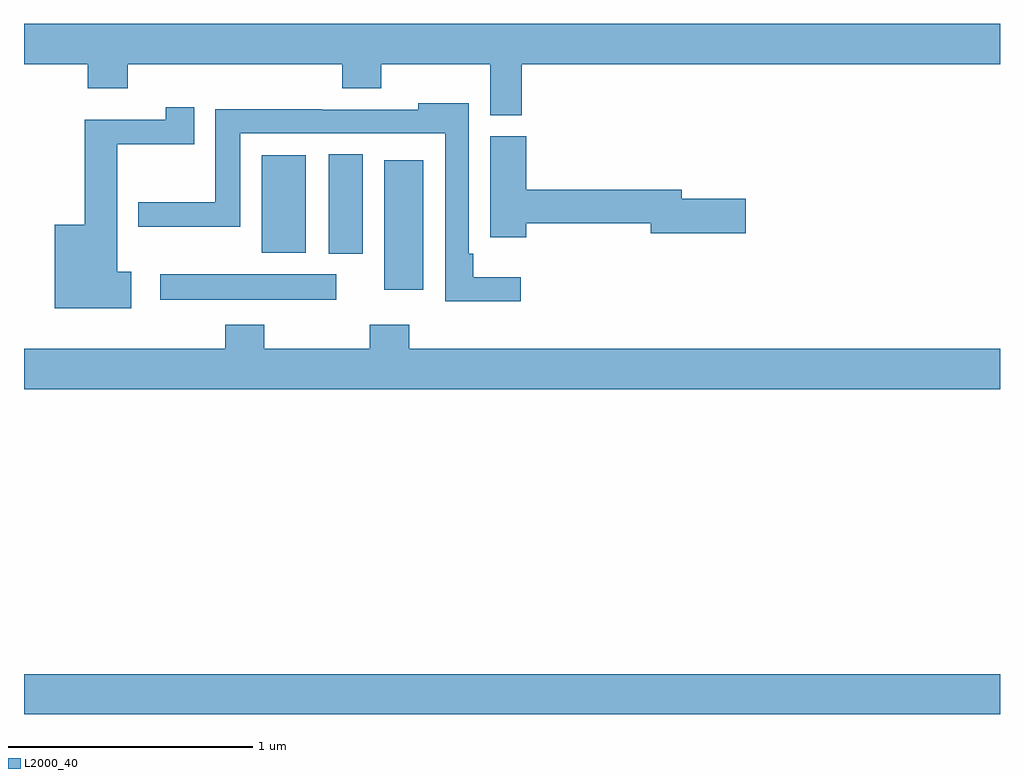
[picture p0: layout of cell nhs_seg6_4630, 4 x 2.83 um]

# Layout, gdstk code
import gdstk
lib = gdstk.Library(unit=1e-6, precision=1e-09)
def R(c, l, rs):  # rectangles x0, y0, x1, y1
    for r in rs: c.add(gdstk.rectangle(r[:2], r[2:], *l))
def P(c, l, *ps):  # polygons
    for p in ps: c.add(gdstk.Polygon(p, *l))
L2000_40 = (2000, 40)

nhs_seg6_4630 = lib.new_cell('nhs_seg6_4630')
R(nhs_seg6_4630, L2000_40, [(383,985.964,387,986.128), (383.559,987.662,384.28,987.766), (384.476,987.702,384.637,988.234), (384.248,987.851,384.388,988.259), (383.975,987.854,384.154,988.255)])
P(nhs_seg6_4630, L2000_40, [(385.04,988.628),(387,988.628),(387,988.792),(383,988.792),(383,988.628),(383.261,988.628),(383.261,988.529),(383.426,988.529),(383.426,988.628),(384.305,988.628),(384.305,988.529),(384.465,988.529),(384.465,988.628),(384.911,988.628),(384.911,988.417),(385.04,988.417)],
  [(385.036,987.754),(384.842,987.754),(384.842,987.85),(384.822,987.85),(384.822,988.468),(384.615,988.468),(384.615,988.44),(384.221,988.44),(384.221,988.442),(383.783,988.442),(383.783,988.062),(383.468,988.062),(383.468,987.962),(383.887,987.962),(383.887,988.344),(384.726,988.344),(384.726,987.656),(385.036,987.656)],
  [(383.44,987.776),(383.383,987.776),(383.383,988.3),(383.698,988.3),(383.698,988.45),(383.581,988.45),(383.581,988.399),(383.249,988.399),(383.249,987.97),(383.126,987.97),(383.126,987.626),(383.44,987.626)],
  [(385.058,987.976),(385.568,987.976),(385.568,987.934),(385.957,987.934),(385.957,988.076),(385.696,988.076),(385.696,988.112),(385.058,988.112),(385.058,988.332),(384.911,988.332),(384.911,987.918),(385.058,987.918)],
  [(387,987.46),(384.578,987.46),(384.578,987.559),(384.418,987.559),(384.418,987.46),(383.985,987.46),(383.985,987.559),(383.825,987.559),(383.825,987.46),(383,987.46),(383,987.296),(387,987.296)])

lib.write_gds('nhs_seg6_4630.gds')
